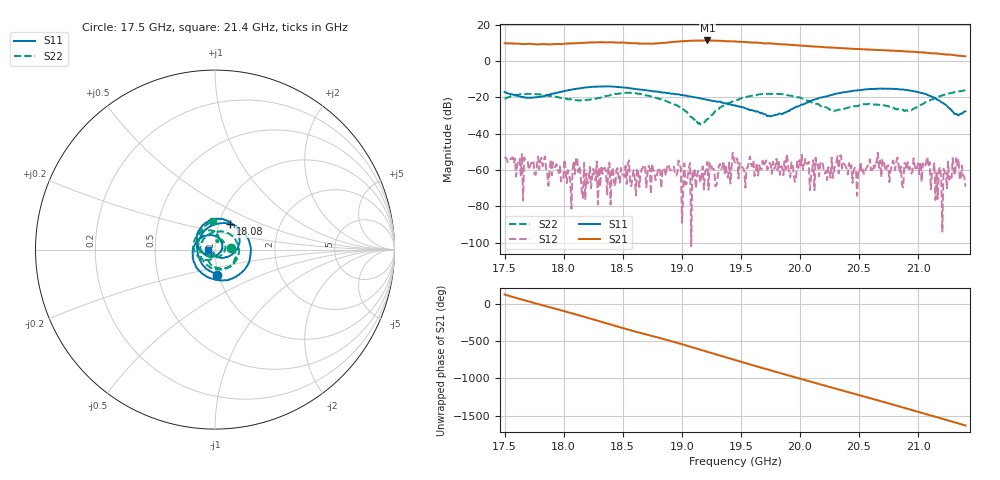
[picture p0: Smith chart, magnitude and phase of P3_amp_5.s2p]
!Created with skrf (http://scikit-rf.org).
# GHz S RI R 50.0
!freq ReS11 ImS11 ReS21 ImS21 ReS12 ImS12 ReS22 ImS22
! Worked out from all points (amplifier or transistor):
!   401 points, 17.5 GHz to 21.4 GHz, reference 50 ohm
!   highest |S21| = 11.4 dB at 19.22 GHz (marker M1)
!   |S21| within 3 dB of that: start of sweep to 20.05 GHz
!   unconditionally stable (mu >= 1): start of sweep to end of sweep
!   at 18.14 GHz: K = 209.64, MAG = 10.2 dB, |S12| = -62.9 dB
!   at 19.45 GHz: K = 88.68, MAG = 10.9 dB, |S12| = -55.9 dB
!   at 21.4 GHz: K = 1018.05, MAG = 2.8 dB, |S12| = -69.1 dB
!   S11 on the Smith chart (normalised r, x): 17.5 GHz: 0.99, -0.28; 18.08 GHz: 1.14, +0.33; 21.4 GHz: 0.92, -0.00
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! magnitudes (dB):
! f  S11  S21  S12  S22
! 17.5 GHz  -17.1  9.9  -53.5  -20.8
! 18.08 GHz  -15.6  9.8  -59.5  -21.2
! 18.09 GHz  -15.4  9.8  -62.3  -21.5
! 18.15 GHz  -14.8  10.1  -72.4  -21.7
! 18.81 GHz  -16.9  9.9  -58.6  -20.8
! 18.97 GHz  -18.2  10.8  -54.8  -25.0
! 19.02 GHz  -18.9  11.1  -56.4  -26.9
! 19.22 GHz  -21.3  11.4  -55.5  -32.0
! 19.4 GHz  -23.8  11.0  -55.9  -23.0
! 19.45 GHz  -24.3  10.9  -55.9  -21.7
! 19.54 GHz  -25.9  10.6  -69.8  -19.8
! 19.74 GHz  -30.2  9.8  -55.9  -18.0
! 20.05 GHz  -22.9  8.4  -56.0  -21.5
! 20.1 GHz  -21.6  8.1  -60.1  -22.9
! 20.33 GHz  -17.7  7.2  -61.9  -26.7
! 20.46 GHz  -16.2  6.8  -58.7  -24.8
! 20.66 GHz  -15.2  6.2  -50.5  -24.1
! 20.76 GHz  -15.2  5.9  -66.6  -25.1
! 21.08 GHz  -18.6  4.6  -52.8  -22.3
! 21.19 GHz  -21.9  4.0  -58.3  -19.3
! 21.32 GHz  -29.0  3.1  -53.5  -16.9
! 21.4 GHz  -27.6  2.7  -69.1  -16.1
